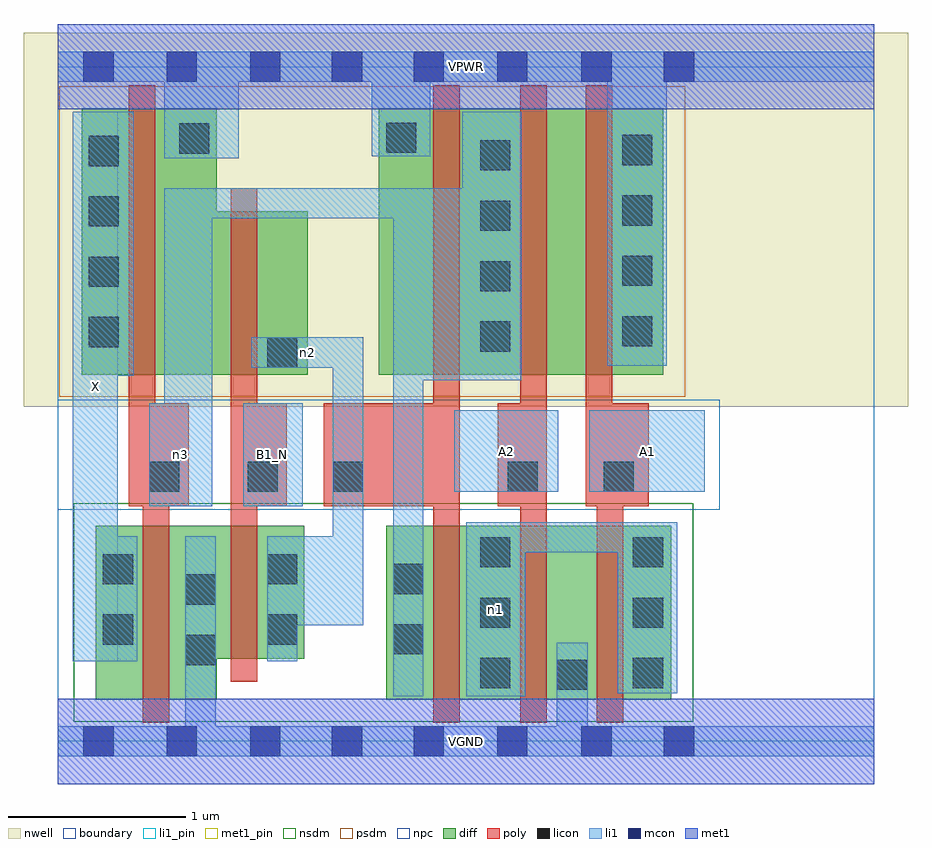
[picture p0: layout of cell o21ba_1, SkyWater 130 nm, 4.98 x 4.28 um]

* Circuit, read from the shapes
.subckt o21ba_1 A1 A2 B1_N VGND VPWR X n1 n2 n3
XM1 VGND n3 X VSUBS sky130_fd_pr__nfet_01v8 w=0.98 l=0.15
XM2 n2 B1_N VGND VSUBS sky130_fd_pr__nfet_01v8 w=0.75 l=0.15
XM3 n1 n2 n3 VSUBS sky130_fd_pr__nfet_01v8 w=0.98 l=0.15
XM4 VGND A2 n1 VSUBS sky130_fd_pr__nfet_01v8 w=0.98 l=0.15
XM5 n1 A1 VGND VSUBS sky130_fd_pr__nfet_01v8 w=0.98 l=0.15
XM6 VPWR n3 X n4 sky130_fd_pr__pfet_01v8 w=1.5 l=0.15
XM7 n2 B1_N VPWR n4 sky130_fd_pr__pfet_01v8 w=0.92 l=0.15
XM8 n3 n2 VPWR n4 sky130_fd_pr__pfet_01v8 w=1.5 l=0.15
XM9 n5 A2 n3 n4 sky130_fd_pr__pfet_01v8 w=1.5 l=0.15
XM10 VPWR A1 n5 n4 sky130_fd_pr__pfet_01v8 w=1.5 l=0.15
.ends

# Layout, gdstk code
import gdstk
lib = gdstk.Library(unit=1e-6, precision=1e-09)
def R(c, l, rs):  # rectangles x0, y0, x1, y1
    for r in rs: c.add(gdstk.rectangle(r[:2], r[2:], *l))
def A(c, l, x, y, w, h, nx, ny, dx, dy):  # array of equal rectangles
    R(c, l, [(x+i*dx, y+j*dy, x+i*dx+w, y+j*dy+h) for i in range(nx) for j in range(ny)])
nwell = (64, 20)
diff = (65, 20)
poly = (66, 20)
licon = (66, 44)
li1_pin = (67, 16)
li1 = (67, 20)
mcon = (67, 44)
met1_pin = (68, 16)
met1 = (68, 20)
nsdm = (93, 44)
psdm = (94, 20)
npc = (95, 20)
boundary = (235, 4)

o21ba_1 = lib.new_cell('o21ba_1')
R(o21ba_1, nwell, [(-0.19,1.885,4.79,3.99), (0,1.885,4.6,3.99)])
R(o21ba_1, diff, [(0.215,0.235,0.895,1.215), (1.85,0.235,3.455,1.215), (0.215,0.465,1.39,1.215), (0.135,2.065,0.895,3.565), (0.135,2.065,1.41,2.985), (1.81,2.065,3.41,3.565)])
R(o21ba_1, poly, [(0.48,0.105,0.63,1.905), (2.115,0.105,2.265,3.695), (2.605,0.105,2.755,3.695), (3.035,0.105,3.185,1.905), (0.975,0.335,1.125,3.115), (0.4,1.325,0.55,3.695), (0.4,1.325,0.74,1.905), (0.975,1.325,1.29,1.905), (1.5,1.325,2.265,1.905), (2.48,1.325,2.755,1.905), (2.975,1.325,3.125,3.695), (2.975,1.325,3.33,1.905)])
A(o21ba_1, licon, 2.38, 0.3, 0.17, 0.17, 1, 3, 0, 0.34)
A(o21ba_1, licon, 3.24, 0.3, 0.17, 0.17, 1, 3, 0, 0.34)
A(o21ba_1, licon, 2.38, 2.195, 0.17, 0.17, 1, 4, 0, 0.34)
A(o21ba_1, licon, 0.175, 2.22, 0.17, 0.17, 1, 4, 0, 0.34)
A(o21ba_1, licon, 3.18, 2.225, 0.17, 0.17, 1, 4, 0, 0.34)
R(o21ba_1, licon, [(2.81,0.29,2.98,0.46), (0.72,0.43,0.89,0.6), (1.89,0.49,2.06,0.66), (0.255,0.545,0.425,0.715), (1.18,0.545,1.35,0.715), (0.72,0.77,0.89,0.94), (1.89,0.83,2.06,1), (0.255,0.885,0.425,1.055), (1.18,0.885,1.35,1.055), (0.515,1.405,0.685,1.575), (1.07,1.405,1.24,1.575), (1.55,1.405,1.72,1.575), (2.535,1.405,2.705,1.575), (3.075,1.405,3.245,1.575), (1.18,2.105,1.35,2.275), (0.685,3.31,0.855,3.48), (1.85,3.315,2.02,3.485)])
R(o21ba_1, li1_pin, [(0.085,0.45,0.34,3.545), (1.045,1.325,1.38,1.905), (2.235,1.405,2.82,1.865), (2.995,1.405,3.645,1.865)])
R(o21ba_1, li1, [(0,-0.085,4.6,0.085), (0.72,-0.085,0.89,1.155), (2.81,-0.085,2.985,0.555), (1.89,0.255,2.06,3.115), (2.3,0.255,2.635,1.235), (3.155,0.27,3.49,1.235), (0.085,0.45,0.34,3.545), (0.085,0.45,0.45,1.155), (1.18,0.45,1.35,1.155), (1.18,0.655,1.72,1.155), (1.55,0.655,1.72,2.275), (2.3,1.065,3.49,1.235), (0.515,1.325,0.87,1.905), (0.6,1.325,0.87,3.115), (1.045,1.325,1.38,1.905), (2.235,1.405,2.82,1.865), (2.995,1.405,3.645,1.865), (1.89,2.035,2.61,3.115), (2.28,2.035,2.61,3.545), (0.085,2.06,0.43,3.545), (1.09,2.105,1.72,2.275), (3.095,2.115,3.43,3.885), (0.6,2.945,2.61,3.115), (0.6,3.285,1.02,3.885), (1.77,3.295,2.1,3.885), (0,3.715,4.6,3.885)])
A(o21ba_1, mcon, 0.145, -0.085, 0.17, 0.17, 3, 2, 0.47, 3.8)
R(o21ba_1, mcon, [(1.545,-0.085,1.715,0.085), (2.005,-0.085,2.175,0.085), (2.475,-0.085,2.645,0.085), (2.95,-0.085,3.12,0.085), (3.415,-0.085,3.585,0.085), (1.545,3.715,1.715,3.885), (2.005,3.715,2.175,3.885), (2.475,3.715,2.645,3.885), (2.95,3.715,3.12,3.885), (3.415,3.715,3.585,3.885)])
R(o21ba_1, met1_pin, [(0,-0.24,4.6,0.24), (0,3.56,4.6,4.04)])
R(o21ba_1, met1, [(0,-0.24,4.6,0.24), (0,3.56,4.6,4.04)])
R(o21ba_1, nsdm, [(0.09,0.11,3.58,1.34)])
R(o21ba_1, psdm, [(0.01,1.94,3.535,3.69)])
R(o21ba_1, npc, [(0,1.305,3.73,1.925)])
R(o21ba_1, boundary, [(0,0,4.6,3.8)])
o21ba_1.add(gdstk.Label('A1', (3.32,1.635), layer=67, texttype=5))
o21ba_1.add(gdstk.Label('A2', (2.527,1.635), layer=67, texttype=5))
o21ba_1.add(gdstk.Label('B1_N', (1.212,1.615), layer=67, texttype=5))
o21ba_1.add(gdstk.Label('X', (0.212,1.997), layer=67, texttype=5))
o21ba_1.add(gdstk.Label('n1', (2.467,0.745), layer=67, texttype=5))
o21ba_1.add(gdstk.Label('n2', (1.405,2.19), layer=67, texttype=5))
o21ba_1.add(gdstk.Label('n3', (0.692,1.615), layer=67, texttype=5))
o21ba_1.add(gdstk.Label('VPWR', (2.3,3.8), layer=68, texttype=5))
o21ba_1.add(gdstk.Label('VGND', (2.3,0), layer=68, texttype=5))
o21ba_1.add(gdstk.Label('A1', (3.32,1.635), layer=67, texttype=16))
o21ba_1.add(gdstk.Label('A2', (2.527,1.635), layer=67, texttype=16))
o21ba_1.add(gdstk.Label('B1_N', (1.212,1.615), layer=67, texttype=16))
o21ba_1.add(gdstk.Label('X', (0.212,1.997), layer=67, texttype=16))
o21ba_1.add(gdstk.Label('VPWR', (2.3,3.8), layer=68, texttype=16))
o21ba_1.add(gdstk.Label('VGND', (2.3,0), layer=68, texttype=16))

lib.write_gds('o21ba_1.gds')
